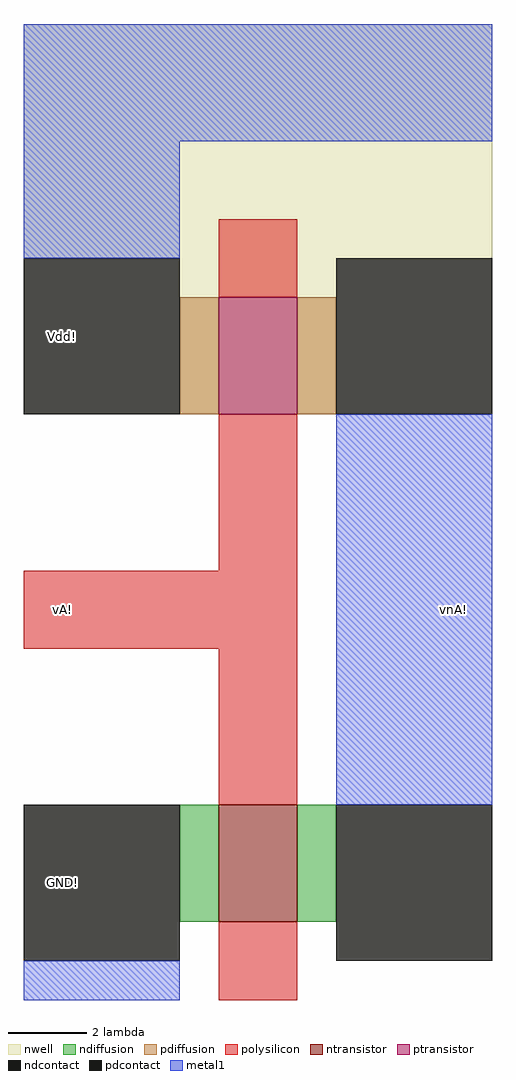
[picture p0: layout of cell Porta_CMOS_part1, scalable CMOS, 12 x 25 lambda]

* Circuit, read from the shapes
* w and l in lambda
.subckt Porta_CMOS_part1 GND! Vdd! vA! vnA!
M1 vnA! vA! GND! VSUBS nfet w=3 l=2
M2 vnA! vA! Vdd! n1 pfet w=3 l=2
.ends

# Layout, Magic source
magic
tech scmos
<< nwell >>
rect -4 -4 8 6
<< polysilicon >>
rect 1 -1 3 1
rect 1 -8 3 -4
rect -4 -10 3 -8
rect 1 -14 3 -10
rect 1 -19 3 -17
<< ndiffusion >>
rect 0 -17 1 -14
rect 3 -17 4 -14
<< pdiffusion >>
rect 0 -4 1 -1
rect 3 -4 4 -1
<< metal1 >>
rect -4 3 8 6
rect -4 0 0 3
rect 4 -14 8 -4
rect -4 -19 0 -18
<< ntransistor >>
rect 1 -17 3 -14
<< ptransistor >>
rect 1 -4 3 -1
<< ndcontact >>
rect -4 -18 0 -14
rect 4 -18 8 -14
<< pdcontact >>
rect -4 -4 0 0
rect 4 -4 8 0
<< labels >>
rlabel polysilicon -3 -9 -3 -9 3 vA!
rlabel metal1 7 -9 7 -9 7 vnA!
rlabel ndcontact -3 -16 -3 -16 1 GND!
rlabel pdcontact -3 -2 -3 -2 3 Vdd!
<< end >>
